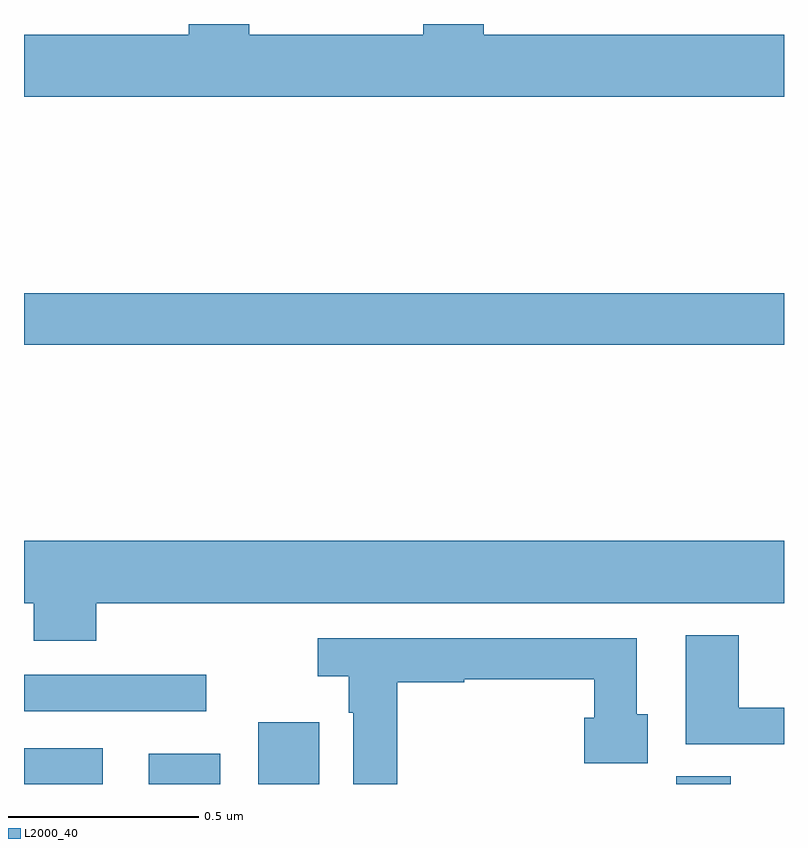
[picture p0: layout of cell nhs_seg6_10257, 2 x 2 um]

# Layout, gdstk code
import gdstk
lib = gdstk.Library(unit=1e-6, precision=1e-09)
def R(c, l, rs):  # rectangles x0, y0, x1, y1
    for r in rs: c.add(gdstk.rectangle(r[:2], r[2:], *l))
def P(c, l, *ps):  # polygons
    for p in ps: c.add(gdstk.Polygon(p, *l))
L2000_40 = (2000, 40)

nhs_seg6_10257 = lib.new_cell('nhs_seg6_10257')
R(nhs_seg6_10257, L2000_40, [(244,973.5,244.207,973.594), (244.328,973.5,244.516,973.579), (244.616,973.5,244.777,973.663), (245.716,973.5,245.86,973.52), (244,973.692,244.48,973.788), (244,974.656,246,974.792)])
P(nhs_seg6_10257, L2000_40, [(246,975.472),(245.21,975.472),(245.21,975.5),(245.05,975.5),(245.05,975.472),(244.593,975.472),(244.593,975.5),(244.433,975.5),(244.433,975.472),(244,975.472),(244,975.308),(246,975.308)],
  [(244.19,973.976),(246,973.976),(246,974.14),(244,974.14),(244,973.976),(244.025,973.976),(244.025,973.877),(244.19,973.877)],
  [(246,973.701),(245.881,973.701),(245.881,973.891),(245.741,973.891),(245.741,973.605),(246,973.605)],
  [(244.982,973.768),(245.159,973.768),(245.159,973.776),(245.501,973.776),(245.501,973.675),(245.474,973.675),(245.474,973.555),(245.642,973.555),(245.642,973.683),(245.613,973.683),(245.613,973.884),(244.773,973.884),(244.773,973.784),(244.854,973.784),(244.854,973.688),(244.866,973.688),(244.866,973.5),(244.982,973.5)])

lib.write_gds('nhs_seg6_10257.gds')
